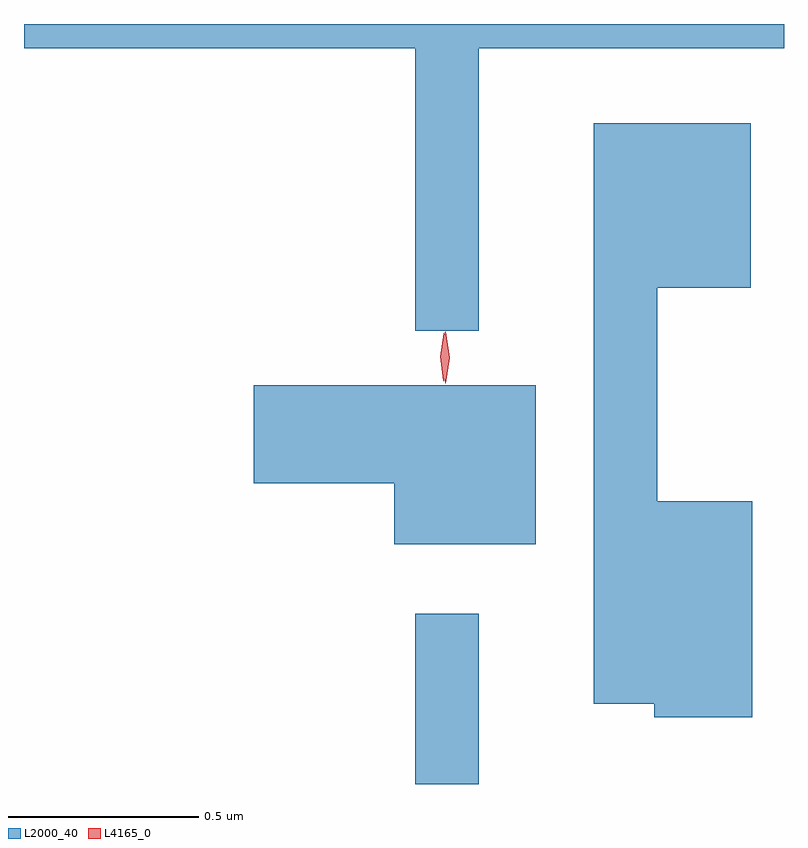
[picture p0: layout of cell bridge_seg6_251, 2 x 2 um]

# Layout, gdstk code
import gdstk
lib = gdstk.Library(unit=1e-6, precision=1e-09)
def R(c, l, rs):  # rectangles x0, y0, x1, y1
    for r in rs: c.add(gdstk.rectangle(r[:2], r[2:], *l))
def P(c, l, *ps):  # polygons
    for p in ps: c.add(gdstk.Polygon(p, *l))
L2000_40 = (2000, 40)
L4165_0 = (4165, 0)

bridge_seg6_251 = lib.new_cell('bridge_seg6_251')
R(bridge_seg6_251, L2000_40, [(1127.401,1556.98,1127.569,1557.428)])
P(bridge_seg6_251, L2000_40, [(1127.569,1558.916),(1128.372,1558.916),(1128.372,1558.98),(1126.372,1558.98),(1126.372,1558.916),(1127.401,1558.916),(1127.401,1558.173),(1127.569,1558.173)],
  [(1128.289,1557.724),(1128.039,1557.724),(1128.039,1558.286),(1128.284,1558.286),(1128.284,1558.719),(1127.871,1558.719),(1127.871,1557.191),(1128.031,1557.191),(1128.031,1557.156),(1128.289,1557.156)],
  [(1127.719,1558.029),(1126.976,1558.029),(1126.976,1557.771),(1127.346,1557.771),(1127.346,1557.611),(1127.719,1557.611)])
P(bridge_seg6_251, L4165_0, [(1127.481,1558.034),(1127.472,1558.102),(1127.481,1558.17),(1127.482,1558.17),(1127.482,1558.17),(1127.492,1558.102),(1127.482,1558.034),(1127.482,1558.034)],
  [(1127.476,1558.04),(1127.475,1558.041),(1127.467,1558.104),(1127.477,1558.166),(1127.478,1558.167),(1127.478,1558.166),(1127.487,1558.103),(1127.476,1558.041)])

lib.write_gds('bridge_seg6_251.gds')
